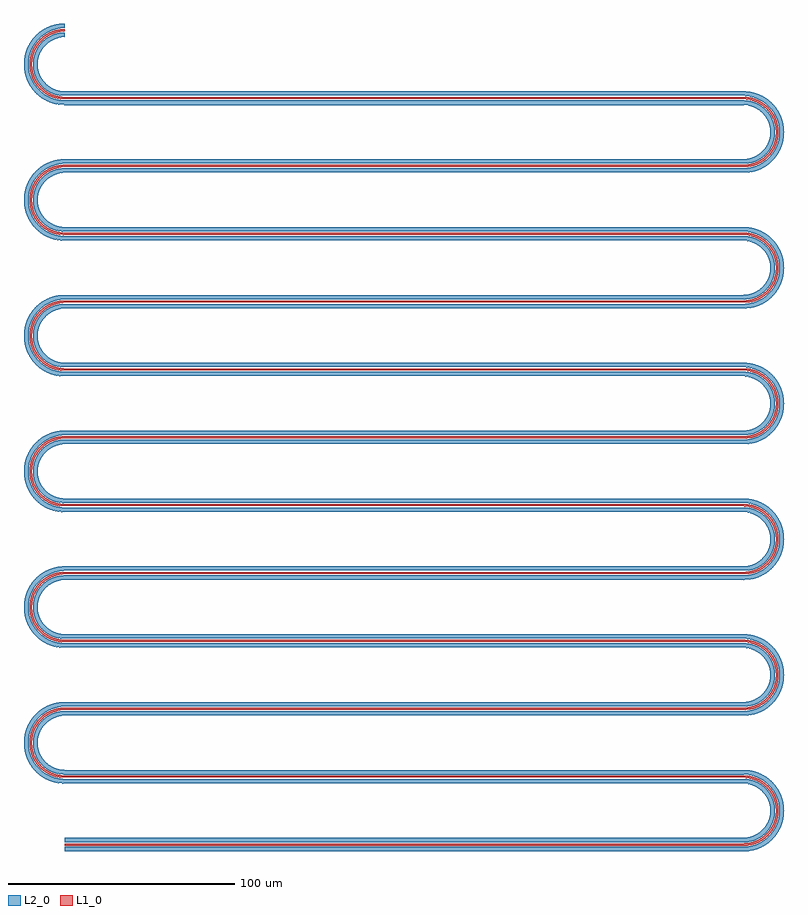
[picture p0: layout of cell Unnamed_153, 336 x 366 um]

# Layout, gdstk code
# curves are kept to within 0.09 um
import gdstk
lib = gdstk.Library(unit=1e-6, precision=1e-09)
def P(c, l, *ps):  # polygons
    for p in ps: c.add(gdstk.Polygon(p, *l))
L1_0 = (1, 0)
L2_0 = (2, 0)

unnamed_153 = lib.new_cell('Unnamed_153')
P(unnamed_153, L1_0, [(0,-0.5),(0,0.5),(300.091,0.5),(301.729,0.603),(303.388,0.901),(305.848,1.731),(307.968,2.885),(309.934,4.437),(311.631,6.341),(312.927,8.431),(313.878,10.798),(314.383,13.158),(314.483,15.706),(314.175,18.055),(313.403,20.533),(312.251,22.757),(310.733,24.75),(308.823,26.507),(306.751,27.833),(304.442,28.803),(302.09,29.349),(300.091,29.5),(-0.828,29.522),(-3.953,30.012),(-6.913,31.127),(-8.395,31.97),(-9.661,32.879),(-10.865,33.945),(-11.952,35.13),(-12.937,36.462),(-13.729,37.805),(-14.418,39.311),(-14.93,40.835),(-15.465,43.953),(-15.492,45.512),(-15.335,47.259),(-14.671,50.003),(-13.591,52.453),(-12.136,54.642),(-10.332,56.555),(-8.148,58.186),(-5.847,59.355),(-3.337,60.137),(-0.731,60.483),(301.184,60.548),(303.918,61.039),(306.508,62.042),(308.823,63.493),(310.855,65.386),(312.442,67.553),(313.618,70.019),(314.318,72.707),(314.494,75.433),(314.175,78.055),(313.368,80.617),(312.052,83.063),(310.357,85.148),(308.308,86.884),(305.931,88.232),(303.388,89.099),(300.729,89.482),(-0.097,89.5),(-2.764,89.748),(304.769,89.748),(306.562,89.043),(308.395,88.03),(309.926,86.905),(311.341,85.566),(312.52,84.138),(313.591,82.453),(314.454,80.598),(315.054,78.693),(315.362,77.065),(315.496,75.366),(315.438,73.613),(315.202,71.973),(314.271,68.95),(313.52,67.419),(312.634,66.02),(311.668,64.796),(310.44,63.543),(309.119,62.466),(307.729,61.564),(306.251,60.816),(304.702,60.23),(303.051,59.803),(301.412,59.564),(-0.547,59.49),(-3.077,59.17),(-5.47,58.429),(-7.738,57.263),(-9.699,55.779),(-11.409,53.949),(-12.758,51.892),(-13.768,49.55),(-14.352,47.068),(-14.467,44.02),(-13.955,41.06),(-12.843,38.269),(-11.21,35.802),(-9.038,33.661),(-6.508,32.042),(-3.698,30.979),(-0.729,30.518),(300.097,30.5),(302.331,30.324),(304.841,29.725),(307.346,28.649),(309.547,27.211),(311.506,25.386),(313.147,23.21),(314.346,20.87),(315.121,18.408),(315.482,15.755),(315.387,13.128),(314.821,10.461),(313.818,7.978),(312.404,5.705),(310.548,3.642),(308.477,2.023),(306.162,0.777),(303.717,-0.048),(301.945,-0.378),(300.097,-0.5)],
  [(-2.764,89.748),(-5.393,90.468),(-7.813,91.613),(-10.038,93.189),(-11.983,95.168),(-13.544,97.462),(-14.671,99.997),(-15.313,102.597),(-15.496,105.366),(-15.192,108.075),(-14.346,110.87),(-13.147,113.21),(-11.506,115.386),(-9.547,117.211),(-7.26,118.695),(-4.702,119.77),(-2.09,120.359),(-0.097,120.5),(300.729,120.518),(303.433,120.912),(306.056,121.825),(308.456,123.221),(310.547,125.049),(312.251,127.243),(313.505,129.721),(314.264,132.392),(314.499,135.205),(314.203,137.921),(313.403,140.533),(312.152,142.911),(310.453,145.05),(308.382,146.832),(305.973,148.213),(303.388,149.099),(300.729,149.482),(-0.097,149.5),(-2.09,149.641),(-4.702,150.23),(-7.13,151.237),(-9.431,152.699),(-11.341,154.434),(-13.017,156.585),(-14.271,158.95),(-15.088,161.449),(-15.477,164.147),(-15.404,166.727),(-14.877,169.352),(-13.906,171.847),(-12.491,174.178),(-10.76,176.157),(-8.72,177.815),(-6.429,179.104),(-3.906,180),(303.906,180),(302.09,179.641),(300.097,179.5),(-0.82,179.477),(-2.361,179.307),(-3.918,178.961),(-5.47,178.429),(-6.912,177.747),(-8.308,176.884),(-9.563,175.9),(-10.733,174.75),(-11.739,173.512),(-12.67,172.052),(-13.368,170.617),(-13.891,169.159),(-14.264,167.608),(-14.464,166.025),(-14.491,164.476),(-14.339,162.842),(-14.015,161.28),(-13.278,159.173),(-12.152,157.089),(-10.733,155.25),(-9.038,153.661),(-7.072,152.341),(-4.959,151.374),(-2.72,150.757),(-0.547,150.51),(301.169,150.456),(303.717,150.048),(306.162,149.223),(308.477,147.977),(310.548,146.358),(312.345,144.373),(313.729,142.195),(314.732,139.818),(315.335,137.259),(315.477,134.147),(314.994,131.071),(313.906,128.153),(313.147,126.79),(312.196,125.434),(310.038,123.189),(308.72,122.185),(307.346,121.351),(304.469,120.158),(301.412,119.564),(-0.547,119.49),(-2.988,119.189),(-5.215,118.53),(-7.427,117.454),(-9.32,116.108),(-10.975,114.477),(-12.395,112.525),(-13.488,110.322),(-14.175,108.055),(-14.5,105.114),(-14.42,103.475),(-14.175,101.945),(-13.739,100.363),(-13.146,98.882),(-12.395,97.475),(-11.549,96.232),(-10.516,95.016),(-9.39,93.951),(-8.082,92.961),(-6.751,92.167),(-3.918,91.039),(-2.361,90.693),(-0.82,90.523),(300.097,90.5),(302.427,90.309),(304.769,89.748)],
  [(-3.906,180),(-2.09,180.359),(-0.097,180.5),(300.091,180.5),(301.729,180.603),(303.3,180.88),(305.596,181.623),(307.93,182.86),(309.901,184.406),(311.549,186.232),(312.927,188.431),(313.824,190.623),(314.365,193.023),(314.491,195.524),(314.175,198.055),(313.488,200.322),(312.395,202.525),(310.855,204.614),(309.038,206.339),(306.912,207.747),(304.528,208.775),(302.09,209.349),(300.091,209.5),(-0.828,209.522),(-3.953,210.012),(-6.913,211.127),(-8.395,211.97),(-9.661,212.879),(-10.865,213.945),(-11.952,215.13),(-12.937,216.462),(-13.729,217.805),(-14.418,219.311),(-14.93,220.835),(-15.465,223.953),(-15.492,225.512),(-15.335,227.259),(-14.671,230.003),(-13.591,232.453),(-12.136,234.642),(-10.332,236.555),(-8.148,238.186),(-5.847,239.355),(-3.337,240.137),(-0.731,240.483),(301.184,240.548),(303.918,241.039),(306.344,241.961),(308.714,243.41),(310.733,245.25),(312.371,247.436),(313.538,249.806),(314.264,252.392),(314.5,255.114),(314.203,257.921),(313.403,260.533),(312.152,262.911),(310.453,265.05),(308.382,266.832),(305.973,268.213),(303.388,269.099),(300.729,269.482),(-0.097,269.5),(-2.427,269.691),(-4.769,270.252),(302.764,270.252),(304.841,269.725),(306.913,268.873),(308.84,267.732),(310.548,266.358),(312.075,264.718),(313.35,262.876),(314.346,260.87),(315.054,258.693),(315.362,257.065),(315.496,255.366),(315.438,253.613),(315.202,251.973),(314.271,248.95),(313.52,247.419),(312.634,246.02),(311.668,244.796),(310.44,243.543),(309.119,242.466),(307.729,241.564),(306.251,240.816),(304.702,240.23),(303.051,239.803),(301.412,239.564),(-0.547,239.49),(-3.077,239.17),(-5.47,238.429),(-7.738,237.263),(-9.699,235.779),(-11.409,233.949),(-12.801,231.811),(-13.782,229.507),(-14.365,226.977),(-14.464,223.975),(-13.955,221.06),(-12.843,218.269),(-11.21,215.802),(-9.038,213.661),(-6.508,212.042),(-3.698,210.979),(-0.729,210.518),(300.097,210.5),(302.331,210.324),(304.841,209.725),(307.346,208.649),(309.547,207.211),(311.506,205.386),(313.017,203.415),(314.29,201.005),(315.11,198.456),(315.477,195.853),(315.404,193.273),(314.877,190.648),(313.906,188.153),(312.491,185.822),(310.76,183.843),(308.72,182.185),(306.429,180.896),(303.906,180)],
  [(-4.769,270.252),(-7.26,271.305),(-9.431,272.699),(-11.341,274.434),(-12.937,276.462),(-14.213,278.816),(-15.054,281.307),(-15.458,283.856),(-15.438,286.387),(-14.994,288.929),(-14.094,291.451),(-12.801,293.74),(-11.14,295.778),(-9.315,297.389),(-7.087,298.785),(-4.702,299.77),(-2.09,300.359),(-0.097,300.5),(300.729,300.518),(303.388,300.901),(305.931,301.768),(308.308,303.116),(310.357,304.852),(312.052,306.937),(313.368,309.383),(314.175,311.945),(314.494,314.567),(314.318,317.293),(313.602,320.024),(312.395,322.525),(310.64,324.851),(308.604,326.672),(306.138,328.137),(303.61,329.044),(300.729,329.482),(-0.097,329.5),(-2.09,329.641),(-4.841,330.275),(-7.346,331.351),(-9.661,332.879),(-11.668,334.796),(-13.25,336.956),(-14.489,339.493),(-15.256,342.26),(-15.5,344.878),(-15.265,347.692),(-14.574,350.278),(-13.448,352.708),(-11.827,355.019),(-9.851,356.967),(-7.602,358.508),(-5.026,359.663),(-2.331,360.324),(0,360.5),(0,359.5),(-1.729,359.397),(-3.3,359.12),(-4.831,358.672),(-6.344,358.039),(-7.815,357.214),(-9.145,356.253),(-10.357,355.148),(-11.409,353.949),(-12.758,351.892),(-13.739,349.637),(-14.318,347.293),(-14.499,344.795),(-14.23,342.213),(-13.538,339.806),(-12.395,337.475),(-10.855,335.386),(-8.967,333.605),(-6.751,332.167),(-4.355,331.169),(-1.955,330.632),(-0.091,330.5),(300.731,330.483),(303.337,330.137),(305.847,329.355),(308.148,328.186),(310.332,326.555),(312.136,324.642),(313.591,322.453),(314.671,320.003),(315.335,317.259),(315.482,315.755),(315.477,314.147),(315.313,312.597),(314.994,311.071),(314.523,309.584),(313.906,308.153),(313.147,306.79),(312.196,305.434),(311.14,304.222),(310.038,303.189),(308.72,302.185),(307.346,301.351),(305.937,300.682),(304.469,300.158),(302.955,299.784),(301.412,299.564),(-0.547,299.49),(-2.72,299.243),(-4.959,298.626),(-7.072,297.659),(-9.038,296.339),(-10.733,294.75),(-12.152,292.911),(-13.278,290.827),(-14.015,288.72),(-14.339,287.158),(-14.491,285.524),(-14.464,283.975),(-14.264,282.392),(-13.891,280.841),(-13.368,279.383),(-12.67,277.948),(-11.739,276.488),(-10.733,275.25),(-9.563,274.1),(-8.308,273.116),(-6.912,272.253),(-5.47,271.571),(-3.918,271.039),(-2.361,270.693),(-0.82,270.523),(300.097,270.5),(302.764,270.252)])
P(unnamed_153, L2_0, [(0,-3),(0,-1),(300.101,-1),(302.107,-0.861),(304.032,-0.484),(306.59,0.42),(309.043,1.8),(311.18,3.554),(312.924,5.567),(314.332,7.887),(315.328,10.411),(315.895,13.168),(315.976,15.88),(315.575,18.665),(314.751,21.198),(313.437,23.687),(311.809,25.796),(309.775,27.667),(307.494,29.137),(304.997,30.2),(302.356,30.826),(300.101,31),(-0.792,31.022),(-3.698,31.497),(-6.479,32.589),(-8.829,34.135),(-10.934,36.256),(-12.521,38.736),(-13.543,41.451),(-13.979,44.23),(-13.81,47.301),(-13.208,49.643),(-12.233,51.809),(-10.879,53.812),(-9.167,55.582),(-7.322,56.933),(-5.2,57.999),(-2.885,58.7),(-0.484,58.992),(301.457,59.066),(303.69,59.431),(306.036,60.182),(308.152,61.232),(310.052,62.551),(311.809,64.204),(313.27,66.061),(314.442,68.113),(315.328,70.411),(315.844,72.768),(316,75.126),(315.807,77.481),(315.239,79.877),(314.332,82.113),(313.157,84.105),(311.741,85.87),(309.973,87.512),(312.94,87.512),(313.132,87.311),(314.506,85.658),(315.783,83.655),(316.681,81.764),(317.398,79.618),(317.8,77.679),(317.984,75.764),(317.963,73.84),(317.727,71.874),(317.292,70),(316.638,68.131),(315.783,66.345),(314.769,64.71),(313.587,63.193),(312.208,61.772),(310.681,60.511),(309.22,59.54),(307.466,58.621),(305.621,57.9),(303.709,57.386),(301.752,57.085),(-0.415,56.993),(-2.51,56.735),(-4.422,56.156),(-6.34,55.189),(-7.914,54.021),(-9.372,52.495),(-10.504,50.803),(-11.346,48.909),(-11.861,46.823),(-11.98,44.302),(-11.589,41.885),(-10.681,39.53),(-9.301,37.417),(-7.48,35.616),(-5.386,34.276),(-3.097,33.406),(-0.566,33.013),(300.113,33),(302.763,32.787),(305.836,32.028),(308.68,30.769),(311.308,29.005),(313.475,26.935),(315.328,24.438),(316.681,21.764),(317.572,18.903),(317.979,15.877),(317.882,12.938),(317.244,9.838),(316.073,6.896),(314.506,4.342),(312.496,2.044),(310.033,0.055),(307.466,-1.379),(304.59,-2.405),(302.427,-2.836),(300.113,-3)],
  [(309.973,87.512),(307.759,88.993),(305.283,90.103),(302.803,90.753),(300.201,90.999),(-0.088,91),(-1.713,91.105),(-3.357,91.408),(-5.606,92.171),(-7.73,93.327),(-9.655,94.862),(-11.256,96.675),(-12.521,98.736),(-13.412,100.985),(-13.898,103.309),(-13.979,105.77),(-13.648,108.121),(-12.907,110.424),(-11.805,112.527),(-10.363,114.414),(-8.588,116.057),(-6.557,117.37),(-4.372,118.3),(-2.018,118.854),(-0.088,119),(300.805,119.02),(304.032,119.516),(307.136,120.679),(309.934,122.457),(312.305,124.773),(314.172,127.573),(315.412,130.701),(315.967,133.969),(315.851,137.182),(315.208,139.973),(314.125,142.516),(312.621,144.835),(310.74,146.86),(308.496,148.558),(306.129,149.78),(303.445,150.625),(300.654,150.987),(-1.363,151.066),(-4.372,151.7),(-7.133,152.953),(-9.495,154.712),(-11.462,156.961),(-12.907,159.576),(-13.772,162.482),(-13.994,165.418),(-13.576,168.421),(-13.087,169.974),(-12.421,171.46),(-11.587,172.858),(-10.625,174.117),(-9.43,175.348),(-8.165,176.373),(-6.751,177.265),(-5.2,177.999),(305.914,177.999),(302.986,177.249),(300.113,177),(-0.075,177),(-2.694,176.694),(-4.666,176.056),(-6.563,175.047),(-8.249,173.716),(-9.535,172.286),(-10.664,170.503),(-11.452,168.586),(-11.908,166.487),(-11.988,164.453),(-11.715,162.398),(-11.078,160.386),(-10.159,158.612),(-8.908,156.959),(-7.421,155.569),(-5.654,154.415),(-3.712,153.588),(-1.73,153.125),(-0.075,153),(301.188,152.961),(302.986,152.751),(304.863,152.331),(306.685,151.713),(308.28,150.983),(309.844,150.07),(311.308,149.005),(312.658,147.798),(313.915,146.418),(315.054,144.868),(315.996,143.255),(317.292,140),(317.707,138.237),(317.947,136.385),(317.994,134.519),(317.847,132.658),(317.178,129.621),(316.073,126.896),(314.506,124.342),(312.496,122.044),(310.033,120.055),(307.466,118.621),(304.59,117.595),(301.47,117.06),(-0.566,116.987),(-2.841,116.659),(-5.046,115.888),(-7.06,114.704),(-8.857,113.097),(-10.297,111.163),(-11.283,109.087),(-11.861,106.823),(-11.988,104.453),(-11.698,102.324),(-11.004,100.212),(-9.932,98.265),(-8.519,96.548),(-6.782,95.1),(-4.874,94.034),(-2.767,93.323),(-0.566,93.013),(300.34,92.997),(302.427,92.836),(304.7,92.376),(306.843,91.649),(308.828,90.687),(311.042,89.216),(312.94,87.512)],
  [(-5.2,177.999),(-2.626,178.752),(-0.088,179),(300.101,179),(302.007,179.126),(303.934,179.491),(306.499,180.379),(308.96,181.744),(311.035,183.414),(312.894,185.526),(314.332,187.887),(315.328,190.411),(315.895,193.168),(315.976,195.88),(315.575,198.665),(314.751,201.198),(313.437,203.687),(311.809,205.796),(309.775,207.667),(307.494,209.137),(304.997,210.2),(302.356,210.826),(300.101,211),(-0.792,211.022),(-3.698,211.497),(-6.479,212.589),(-8.829,214.135),(-10.934,216.256),(-12.521,218.736),(-13.543,221.451),(-13.979,224.23),(-13.81,227.301),(-13.208,229.643),(-12.233,231.809),(-10.879,233.812),(-9.167,235.582),(-7.322,236.933),(-5.2,237.999),(-2.885,238.7),(-0.484,238.992),(301.457,239.066),(303.934,239.491),(306.222,240.259),(308.496,241.442),(310.59,243.006),(312.305,244.773),(313.755,246.826),(314.865,249.081),(315.575,251.335),(315.953,253.768),(315.953,256.232),(315.575,258.665),(314.846,260.966),(313.755,263.174),(312.305,265.227),(310.59,266.994),(308.581,268.504),(311.901,268.504),(312.897,267.557),(314.506,265.658),(315.783,263.655),(316.765,261.554),(317.482,259.289),(317.832,257.455),(317.994,255.481),(317.947,253.615),(317.707,251.763),(317.292,250),(316.638,248.131),(315.783,246.345),(314.737,244.664),(313.587,243.193),(312.208,241.772),(310.681,240.511),(309.073,239.454),(307.363,238.575),(305.514,237.865),(303.709,237.386),(301.752,237.085),(-0.415,236.993),(-2.51,236.735),(-4.492,236.128),(-6.372,235.169),(-8.083,233.87),(-9.489,232.346),(-10.594,230.637),(-11.406,228.73),(-11.883,226.674),(-11.973,224.189),(-11.549,221.74),(-10.594,219.363),(-9.205,217.301),(-7.421,215.569),(-5.386,214.276),(-3.097,213.406),(-0.566,213.013),(300.113,213),(302.763,212.787),(305.621,212.1),(308.43,210.904),(310.952,209.285),(313.132,207.311),(314.961,205.009),(316.437,202.337),(317.398,199.618),(317.923,196.667),(317.947,193.615),(317.482,190.711),(316.528,187.871),(315.147,185.275),(313.247,182.813),(311.131,180.854),(308.68,179.231),(305.914,177.999)],
  [(308.581,268.504),(306.728,269.517),(304.613,270.321),(302.356,270.826),(300.101,271),(-0.088,271),(-1.713,271.105),(-3.357,271.408),(-5.606,272.171),(-7.73,273.327),(-9.655,274.862),(-11.256,276.675),(-12.521,278.736),(-13.412,280.985),(-13.898,283.309),(-13.979,285.77),(-13.648,288.121),(-12.907,290.424),(-11.805,292.527),(-10.363,294.414),(-8.588,296.057),(-6.557,297.37),(-4.372,298.3),(-2.018,298.854),(-0.088,299),(300.805,299.02),(304.032,299.516),(307.136,300.679),(309.934,302.457),(312.305,304.773),(314.172,307.573),(315.412,310.701),(315.967,313.969),(315.851,317.182),(315.208,319.973),(314.125,322.516),(312.621,324.835),(310.74,326.86),(308.496,328.558),(306.129,329.78),(303.445,330.625),(300.654,330.987),(-1.363,331.066),(-4.372,331.7),(-7.133,332.953),(-9.495,334.712),(-11.462,336.961),(-12.907,339.576),(-13.772,342.482),(-13.994,345.418),(-13.576,348.421),(-12.838,350.586),(-11.685,352.712),(-10.303,354.479),(-8.588,356.057),(-6.635,357.328),(-4.539,358.244),(-2.366,358.799),(0,359),(0,357),(-2.51,356.735),(-4.874,355.966),(-7.06,354.704),(-8.958,352.985),(-10.199,351.324),(-11.121,349.509),(-11.715,347.602),(-11.988,345.547),(-11.883,343.326),(-11.346,341.091),(-10.43,339.065),(-9.033,337.1),(-7.421,335.569),(-5.453,334.31),(-3.351,333.477),(-1.13,333.053),(300.792,332.983),(303.93,332.566),(306.843,331.649),(309.606,330.223),(312.208,328.228),(314.302,325.93),(315.996,323.255),(317.161,320.433),(317.832,317.455),(317.984,315.764),(317.963,313.84),(317.727,311.874),(317.323,310.109),(316.765,308.446),(315.996,306.745),(315.054,305.132),(313.987,303.67),(312.658,302.202),(311.308,300.995),(309.844,299.93),(308.28,299.017),(306.685,298.287),(304.863,297.669),(302.986,297.249),(301.188,297.039),(-0.075,297),(-1.73,296.875),(-3.712,296.412),(-5.654,295.585),(-7.421,294.431),(-8.908,293.041),(-10.159,291.388),(-11.078,289.614),(-11.715,287.602),(-11.988,285.547),(-11.908,283.513),(-11.496,281.558),(-10.732,279.631),(-9.648,277.864),(-8.249,276.284),(-6.72,275.058),(-4.874,274.034),(-2.951,273.368),(-0.075,273),(300.226,272.999),(302.427,272.836),(304.536,272.419),(306.422,271.816),(308.43,270.904),(310.313,269.753),(311.901,268.504)],
  [(0,1),(0,3),(300.075,3),(302.767,3.323),(304.736,3.974),(306.563,4.953),(308.249,6.284),(309.603,7.804),(310.681,9.53),(311.452,11.414),(311.908,13.513),(311.988,15.547),(311.715,17.602),(311.078,19.614),(310.159,21.388),(308.908,23.041),(307.421,24.431),(305.654,25.585),(303.712,26.412),(301.73,26.875),(300.075,27),(-1.188,27.039),(-4.7,27.624),(-6.422,28.184),(-8.129,28.94),(-11.131,30.854),(-12.496,32.044),(-13.771,33.408),(-15.783,36.345),(-16.638,38.131),(-17.244,39.838),(-17.686,41.652),(-17.933,43.445),(-17.999,45.198),(-17.882,47.062),(-17.292,50),(-16.223,52.799),(-14.638,55.475),(-12.658,57.798),(-10.313,59.753),(-7.62,61.308),(-4.7,62.376),(-1.696,62.92),(300.566,63.013),(303.097,63.406),(305.386,64.276),(307.421,65.569),(309.205,67.301),(310.594,69.363),(311.507,71.595),(311.952,73.926),(311.908,76.487),(311.452,78.586),(310.664,80.503),(309.535,82.286),(308.083,83.87),(306.372,85.169),(304.597,86.085),(302.583,86.719),(300.566,86.987),(-0.226,87.001),(-3.376,87.319),(-6.422,88.184),(-9.22,89.54),(-11.901,91.496),(-8.581,91.496),(-6.728,90.483),(-4.613,89.679),(-2.356,89.174),(-0.101,89),(300.484,88.992),(302.626,88.752),(304.83,88.141),(306.866,87.201),(308.829,85.865),(310.422,84.348),(311.805,82.527),(312.838,80.586),(313.597,78.336),(313.994,75.418),(313.756,72.396),(312.838,69.414),(311.36,66.817),(309.365,64.593),(306.943,62.843),(304.205,61.646),(301.363,61.066),(-0.654,60.987),(-3.445,60.625),(-6.129,59.78),(-8.496,58.558),(-10.74,56.86),(-12.621,54.835),(-14.125,52.516),(-15.208,49.973),(-15.851,47.182),(-15.967,43.969),(-15.412,40.701),(-14.172,37.573),(-12.305,34.773),(-9.934,32.457),(-7.136,30.679),(-4.032,29.516),(-0.805,29.02),(300.088,29),(302.018,28.854),(304.372,28.3),(306.557,27.37),(308.588,26.057),(310.363,24.414),(311.805,22.527),(312.907,20.424),(313.648,18.121),(313.979,15.77),(313.898,13.309),(313.412,10.985),(312.521,8.736),(311.256,6.675),(309.655,4.862),(307.73,3.327),(305.606,2.171),(303.357,1.408),(301.713,1.105),(300.088,1)],
  [(-11.901,91.496),(-13.661,93.279),(-15.208,95.37),(-16.437,97.663),(-17.323,100.109),(-17.832,102.545),(-17.999,105.198),(-17.8,107.679),(-17.178,110.379),(-16.223,112.799),(-14.961,115.009),(-13.475,116.935),(-11.57,118.789),(-9.462,120.313),(-7.155,121.517),(-4.809,122.346),(-2.314,122.851),(-0.113,123),(300.415,123.007),(302.547,123.273),(304.666,123.944),(306.563,124.953),(308.385,126.415),(309.803,128.078),(310.896,129.971),(311.618,131.995),(311.973,134.189),(311.908,136.487),(311.346,138.909),(310.297,141.163),(308.958,142.985),(307.151,144.637),(305.148,145.84),(302.951,146.632),(300.566,146.987),(-0.113,147),(-2.651,147.196),(-5.514,147.865),(-8.28,149.017),(-10.952,150.715),(-13.132,152.689),(-14.961,154.991),(-16.437,157.663),(-17.398,160.382),(-17.923,163.333),(-17.947,166.385),(-17.482,169.289),(-16.528,172.129),(-15.147,174.725),(-13.247,177.187),(-11.131,179.146),(-8.68,180.769),(-5.914,182.001),(305.2,182.001),(302.626,181.248),(300.088,181),(-0.101,181),(-2.257,180.84),(-4.323,180.405),(-6.864,179.453),(-9.167,178.114),(-11.18,176.446),(-12.983,174.352),(-14.442,171.887),(-15.412,169.299),(-15.917,166.632),(-15.967,163.969),(-15.575,161.335),(-14.731,158.755),(-13.437,156.313),(-11.741,154.13),(-9.775,152.333),(-7.494,150.863),(-4.997,149.8),(-2.356,149.174),(-0.101,149),(300.792,148.978),(303.613,148.526),(306.244,147.531),(308.588,146.057),(310.625,144.117),(312.233,141.809),(313.334,139.268),(313.918,136.516),(313.948,133.791),(313.509,131.323),(312.599,128.894),(311.36,126.817),(309.655,124.862),(307.73,123.327),(305.525,122.136),(303.014,121.328),(300.484,121.008),(-0.101,121),(-2.007,120.874),(-4.178,120.445),(-6.222,119.741),(-8.152,118.768),(-10.052,117.449),(-11.741,115.87),(-13.157,114.105),(-14.287,112.203),(-15.176,110.069),(-15.807,107.481),(-16,104.874),(-15.766,102.271),(-15.078,99.646),(-14.005,97.263),(-12.496,95.007),(-10.74,93.14),(-8.581,91.496)],
  [(-5.914,182.001),(-2.986,182.751),(-0.113,183),(300.075,183),(302.694,183.306),(304.666,183.944),(306.563,184.953),(308.249,186.284),(309.535,187.714),(310.664,189.497),(311.452,191.414),(311.908,193.513),(311.988,195.547),(311.715,197.602),(311.078,199.614),(310.159,201.388),(308.908,203.041),(307.421,204.431),(305.654,205.585),(303.712,206.412),(301.73,206.875),(300.075,207),(-1.188,207.039),(-2.986,207.249),(-4.863,207.669),(-6.685,208.287),(-8.28,209.017),(-9.844,209.93),(-11.308,210.995),(-12.658,212.202),(-13.915,213.582),(-15.054,215.132),(-15.996,216.745),(-17.292,220),(-17.707,221.763),(-17.947,223.615),(-17.994,225.481),(-17.847,227.342),(-17.178,230.379),(-16.073,233.104),(-14.506,235.658),(-12.496,237.956),(-10.033,239.945),(-7.466,241.379),(-4.59,242.405),(-1.47,242.94),(300.566,243.013),(302.951,243.368),(305.148,244.16),(307.151,245.363),(308.958,247.015),(310.297,248.837),(311.346,251.091),(311.908,253.513),(311.973,255.811),(311.618,258.005),(310.896,260.029),(309.803,261.922),(308.385,263.585),(306.782,264.9),(304.874,265.966),(302.767,266.677),(300.566,266.987),(-0.34,267.003),(-3.765,267.398),(-7.155,268.483),(-8.828,269.313),(-10.313,270.247),(-12.94,272.488),(-9.973,272.488),(-7.759,271.007),(-5.283,269.897),(-2.803,269.247),(-0.201,269.001),(300.484,268.992),(302.626,268.752),(304.83,268.141),(306.866,267.201),(308.829,265.865),(310.422,264.348),(311.805,262.527),(312.907,260.424),(313.618,258.25),(313.999,255.198),(313.739,252.309),(312.838,249.414),(311.36,246.817),(309.365,244.593),(306.943,242.843),(304.205,241.646),(301.363,241.066),(-0.654,240.987),(-3.445,240.625),(-6.129,239.78),(-8.708,238.423),(-10.925,236.69),(-12.834,234.555),(-14.287,232.203),(-15.328,229.589),(-15.895,226.832),(-15.936,223.568),(-15.328,220.411),(-14.077,217.395),(-12.241,214.696),(-9.934,212.457),(-7.136,210.679),(-4.032,209.516),(-0.805,209.02),(300.088,209),(302.018,208.854),(304.205,208.354),(306.323,207.491),(308.343,206.243),(310.062,204.735),(311.462,203.039),(312.599,201.106),(313.437,198.931),(313.898,196.691),(313.979,194.23),(313.686,192.05),(313.007,189.821),(312.058,187.886),(310.739,186.018),(309.167,184.418),(307.322,183.067),(305.2,182.001)],
  [(-12.94,272.488),(-14.506,274.342),(-15.864,276.495),(-16.866,278.711),(-17.572,281.097),(-17.938,283.502),(-17.97,286.047),(-17.642,288.571),(-17,290.916),(-15.996,293.255),(-14.737,295.336),(-13.132,297.311),(-11.308,299.005),(-9.22,300.46),(-7.155,301.517),(-4.809,302.346),(-2.314,302.851),(-0.113,303),(300.415,303.007),(302.51,303.265),(304.492,303.872),(306.372,304.831),(308.083,306.13),(309.535,307.714),(310.681,309.53),(311.496,311.558),(311.917,313.588),(311.952,316.074),(311.496,318.442),(310.558,320.704),(309.156,322.757),(307.421,324.431),(305.386,325.724),(303.097,326.594),(300.566,326.987),(-0.113,327),(-2.763,327.213),(-5.943,328.009),(-8.828,329.313),(-11.527,331.175),(-13.771,333.408),(-15.532,335.902),(-16.905,338.817),(-17.727,341.874),(-17.999,345.198),(-17.686,348.348),(-16.765,351.554),(-15.328,354.438),(-13.475,356.935),(-11.131,359.146),(-8.43,360.904),(-5.514,362.135),(-2.427,362.836),(0,363),(0,361),(-1.808,360.898),(-3.69,360.569),(-5.52,360.018),(-7.136,359.321),(-8.792,358.368),(-10.285,357.257),(-11.569,356.053),(-12.774,354.635),(-14.172,352.427),(-15.208,349.973),(-15.807,347.481),(-16,344.874),(-15.721,342.024),(-14.956,339.315),(-13.755,336.826),(-12.011,334.429),(-9.934,332.457),(-7.583,330.911),(-4.997,329.8),(-2.356,329.174),(-0.101,329),(300.484,328.992),(302.885,328.7),(305.2,327.999),(307.471,326.84),(309.43,325.348),(311.124,323.501),(312.421,321.46),(313.334,319.268),(313.887,316.778),(313.962,313.966),(313.437,311.069),(312.38,308.462),(310.739,306.018),(308.692,304.025),(306.244,302.469),(303.613,301.474),(300.792,301.022),(-0.101,301),(-2.107,300.861),(-4.226,300.432),(-6.222,299.741),(-8.152,298.768),(-9.934,297.543),(-11.569,296.053),(-12.894,294.474),(-14.077,292.605),(-14.956,290.685),(-15.641,288.371),(-15.976,285.88),(-15.917,283.368),(-15.452,280.847),(-14.611,278.478),(-13.382,276.229),(-11.809,274.204),(-9.973,272.488)])

lib.write_gds('Unnamed_153.gds')
